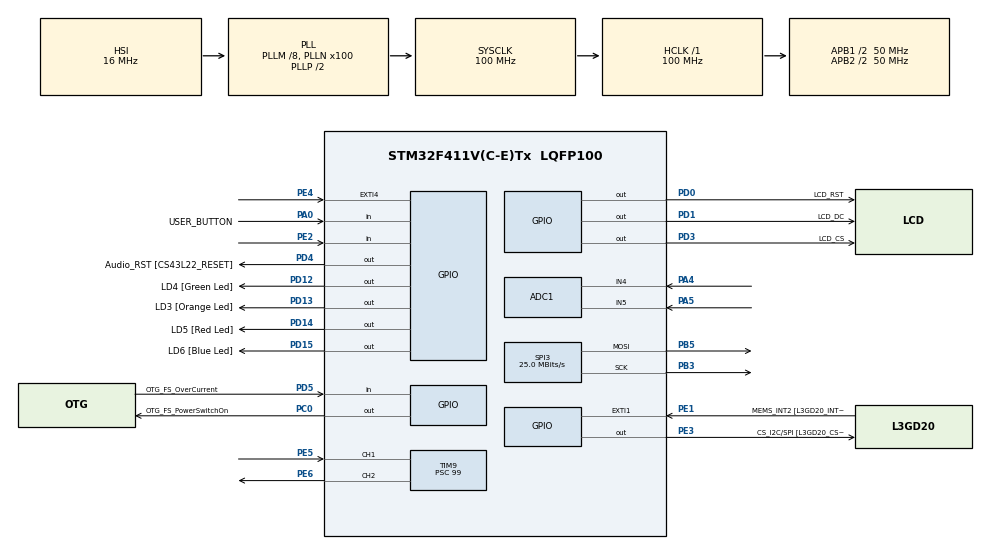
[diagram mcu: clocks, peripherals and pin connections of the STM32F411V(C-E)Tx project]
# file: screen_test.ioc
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ADC1.Channel-0\#ChannelRegularConversion=ADC_CHANNEL_4
ADC1.Channel-1\#ChannelRegularConversion=ADC_CHANNEL_5
ADC1.ClockPrescaler=ADC_CLOCK_SYNC_PCLK_DIV8
ADC1.ContinuousConvMode=ENABLE
ADC1.DMAContinuousRequests=ENABLE
ADC1.NbrOfConversion=2
ADC1.NbrOfConversionFlag=1
ADC1.Rank-0\#ChannelRegularConversion=1
ADC1.Rank-1\#ChannelRegularConversion=2
ADC1.SamplingTime-0\#ChannelRegularConversion=ADC_SAMPLETIME_480CYCLES
ADC1.SamplingTime-1\#ChannelRegularConversion=ADC_SAMPLETIME_480CYCLES
ADC1.ScanConvMode=ENABLE
ADC1.master=1
Dma.ADC1.0.Direction=DMA_PERIPH_TO_MEMORY
Dma.ADC1.0.FIFOMode=DMA_FIFOMODE_DISABLE
Dma.ADC1.0.Instance=DMA2_Stream0
Dma.ADC1.0.MemDataAlignment=DMA_MDATAALIGN_HALFWORD
Dma.ADC1.0.MemInc=DMA_MINC_ENABLE
Dma.ADC1.0.Mode=DMA_CIRCULAR
Dma.ADC1.0.PeriphDataAlignment=DMA_PDATAALIGN_HALFWORD
Dma.ADC1.0.PeriphInc=DMA_PINC_DISABLE
Dma.ADC1.0.Priority=DMA_PRIORITY_LOW
Dma.Request0=ADC1
Mcu.Family=STM32F4
Mcu.Name=STM32F411V(C-E)Tx
Mcu.Package=LQFP100
NVIC.DMA2_Stream0_IRQn=true\:0\:2\:false\:false\:true\:false\:true\:true
NVIC.PriorityGroup=NVIC_PRIORITYGROUP_0
PA0-WKUP.GPIO_Label=USER_BUTTON
PA0-WKUP.Signal=GPIO_Input
PA10.GPIO_Label=OTG_FS_ID
PA10.Signal=USB_OTG_FS_ID
PA11.GPIO_Label=OTG_FS_DM
PA11.Signal=USB_OTG_FS_DM
PA12.GPIO_Label=OTG_FS_DP
PA12.Signal=USB_OTG_FS_DP
PA13.GPIO_Label=SWDIO
PA13.Signal=SYS_JTMS-SWDIO
PA14.GPIO_Label=SWCLK
PA14.Signal=SYS_JTCK-SWCLK
PA4.Signal=ADCx_IN4
PA5.Signal=ADCx_IN5
PA6.GPIO_Label=SPI1_MISO [L3GD20_AS0/SDO]
PA6.Signal=SPI1_MISO
PA7.GPIO_Label=SPI1_MOSI [L3GD20_SDA/SDI/SDO]
PA7.Signal=SPI1_MOSI
PA9.GPIO_Label=VBUS_FS
PA9.Signal=USB_OTG_FS_VBUS
PB10.GPIO_Label=CLK_IN [MP45DT02_CLK]
PB10.Signal=I2S2_CK
PB12.Signal=I2S2_WS
PB3.Mode=TX_Only_Simplex_Unidirect_Master
PB3.Signal=SPI3_SCK
PB5.Mode=TX_Only_Simplex_Unidirect_Master
PB5.Signal=SPI3_MOSI
PB9.Signal=I2C1_SDA
PC0.GPIO_Label=OTG_FS_PowerSwitchOn
PC0.PinState=GPIO_PIN_SET
PC0.Signal=GPIO_Output
PC12.GPIO_Label=I2S3_SD [CS43L22_SDIN]
PC12.GPIO_Mode=GPIO_MODE_AF_PP
PC12.GPIO_PuPd=GPIO_NOPULL
PC12.GPIO_Speed=GPIO_SPEED_FREQ_LOW
PC12.Signal=I2S3_SD
PC14-OSC32_IN.GPIO_Label=PC14-OSC32_IN
PC14-OSC32_IN.Signal=RCC_OSC32_IN
PC15-OSC32_OUT.GPIO_Label=PC15-OSC32_OUT
PC15-OSC32_OUT.Signal=RCC_OSC32_OUT
PC3.GPIO_Label=PDM_OUT [MP45DT02_DOUT]
PC3.Signal=I2S2_SD
PC7.GPIO_Label=I2S3_MCK [CS43L22_MCLK]
PC7.GPIO_Mode=GPIO_MODE_AF_PP
PC7.GPIO_PuPd=GPIO_NOPULL
PC7.GPIO_Speed=GPIO_SPEED_FREQ_LOW
PC7.Signal=I2S3_MCK
PD0.GPIO_Label=LCD_RST
PD0.Signal=GPIO_Output
PD1.GPIO_Label=LCD_DC
PD1.Signal=GPIO_Output
PD12.GPIO_Label=LD4 [Green Led]
PD12.GPIO_PuPd=GPIO_NOPULL
PD12.GPIO_Speed=GPIO_SPEED_FREQ_LOW
PD12.Signal=GPIO_Output
PD13.GPIO_Label=LD3 [Orange Led]
PD13.GPIO_PuPd=GPIO_NOPULL
PD13.GPIO_Speed=GPIO_SPEED_FREQ_LOW
PD13.Signal=GPIO_Output
PD14.GPIO_Label=LD5 [Red Led]
PD14.GPIO_PuPd=GPIO_NOPULL
PD14.GPIO_Speed=GPIO_SPEED_FREQ_LOW
PD14.Signal=GPIO_Output
PD15.GPIO_Label=LD6 [Blue Led]
PD15.GPIO_PuPd=GPIO_NOPULL
PD15.GPIO_Speed=GPIO_SPEED_FREQ_LOW
PD15.Signal=GPIO_Output
PD3.GPIO_Label=LCD_CS
PD3.PinState=GPIO_PIN_SET
PD3.Signal=GPIO_Output
PD4.GPIO_Label=Audio_RST [CS43L22_RESET]
PD4.Signal=GPIO_Output
PD5.GPIO_Label=OTG_FS_OverCurrent
PD5.Signal=GPIO_Input
PE1.GPIO_Label=MEMS_INT2 [L3GD20_INT2]
PE1.GPIO_ModeDefaultEXTI=GPIO_MODE_EVT_RISING
PE1.Signal=GPXTI1
PE2.Signal=GPIO_Input
PE3.GPIO_Label=CS_I2C/SPI [L3GD20_CS_I2C/SPI]
PE3.Signal=GPIO_Output
PE4.GPIO_ModeDefaultEXTI=GPIO_MODE_EVT_RISING
PE4.Signal=GPXTI4
PE5.Signal=S_TIM9_CH1
PE6.Signal=S_TIM9_CH2
PH0\ -\ OSC_IN.GPIO_Label=PH0-OSC_IN
PH0\ -\ OSC_IN.Signal=RCC_OSC_IN
PH1\ -\ OSC_OUT.GPIO_Label=PH1-OSC_OUT
PH1\ -\ OSC_OUT.Signal=RCC_OSC_OUT
ProjectManager.HeapSize=0x200
ProjectManager.StackSize=0x400
ProjectManager.TargetToolchain=STM32CubeIDE
RCC.48MHZClocksFreq_Value=25000000
RCC.AHBFreq_Value=100000000
RCC.APB1CLKDivider=RCC_HCLK_DIV2
RCC.APB1Freq_Value=50000000
RCC.APB1TimFreq_Value=100000000
RCC.APB2CLKDivider=RCC_HCLK_DIV2
RCC.APB2Freq_Value=50000000
RCC.APB2TimFreq_Value=100000000
RCC.CortexFreq_Value=100000000
RCC.HCLKFreq_Value=100000000
RCC.HSE_VALUE=8000000
RCC.HSI_VALUE=16000000
RCC.LSE_VALUE=32768
RCC.PLLI2SM=5
RCC.PLLI2SN=200
RCC.PLLM=8
RCC.PLLN=100
RCC.PLLQ=8
RCC.SYSCLKFreq_VALUE=100000000
RCC.SYSCLKSource=RCC_SYSCLKSOURCE_PLLCLK
RCC.VCOOutputFreq_Value=200000000
SH.ADCx_IN4.0=ADC1_IN4,IN4
SH.ADCx_IN5.0=ADC1_IN5,IN5
SH.S_TIM9_CH1.0=TIM9_CH1,Input_Capture1_from_TI1
SH.S_TIM9_CH2.0=TIM9_CH2,PWM Generation2 CH2
SPI3.CalculateBaudRate=25.0 MBits/s
SPI3.Direction=SPI_DIRECTION_2LINES
SPI3.Mode=SPI_MODE_MASTER
SPI3.VirtualType=VM_MASTER
TIM9.AutoReloadPreload=TIM_AUTORELOAD_PRELOAD_ENABLE
TIM9.Channel-Input_Capture1_from_TI1=TIM_CHANNEL_1
TIM9.Channel-PWM\ Generation2\ CH2=TIM_CHANNEL_2
TIM9.Period=15999
TIM9.Prescaler=99
TIM9.Pulse-PWM\ Generation2\ CH2=10
VP_TIM9_VS_ClockSourceINT.Mode=Internal
board=STM32F411E-DISCO

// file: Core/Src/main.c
/* USER CODE BEGIN Header */
/**
  ******************************************************************************
  * @file           : main.c
  * @brief          : Main program body
  ******************************************************************************
  * @attention
  *
  * Copyright (c) 2023 STMicroelectronics.
  * All rights reserved.
  *
  * This software is licensed under terms that can be found in the LICENSE file
  * in the root directory of this software component.
  * If no LICENSE file comes with this software, it is provided AS-IS.
  *
  ******************************************************************************
  */
/* USER CODE END Header */
#include "main.h"
#include "adc.h"
#include "dma.h"
#include "spi.h"
#include "tim.h"
#include "gpio.h"

/* USER CODE BEGIN Includes */
#include "lcd.h"
#include "stdbool.h"
#include <stdio.h>
#include <limits.h>
#include <math.h>
/* USER CODE END Includes */

/* USER CODE BEGIN PD */
//Rejestry
#define LSM303_ACC_ADDRESS (0x19 << 1) // adres akcelerometru: 0011 001x
#define LSM303_ACC_CTRL_REG1_A 0x20 // rejestr ustawien 1
#define LSM303_ACC_CTRL_REG3_A 0x22 // rejestr ustawien 3
#define LSM303_ACC_Z_H_A 0x2D // wyzszy bajt danych osi Z
#define LSM303_ACC_Z_L_A 0x2C // nizszy bajt danych osi Z
#define LSM303_ACC_X_L_A 0x28 // nizszy bajt danych osi X

// mlodszy bajt danych osi Z z najstarszym bitem ustawionym na 1 w celu
// wymuszenia autoinkrementacji adresow rejestru w urzadzeniu docelowym
// (zeby moc odczytac wiecej danych na raz)
#define LSM303_ACC_Z_L_A_MULTI_READ (LSM303_ACC_Z_L_A | 0x80)

// mlodszy bajt danych osi X z najstarszym bitem ustawionym na 1 w celu
// wymuszenia autoinkrementacji adresow rejestru w urzadzeniu docelowym
// (zeby moc odczytac wiecej danych na raz)
#define LSM303_ACC_X_L_A_MULTI_READ (LSM303_ACC_X_L_A | 0x80)

// Maski bitowe
// CTRL_REG1_A = [ODR3][ODR2][ODR1][ODR0][LPEN][ZEN][YEN][XEN]
#define LSM303_ACC_Z_ENABLE 0x04 // 0000 0100
#define LSM303_ACC_XYZ_ENABLE 0x07 // 0000 0111
#define LSM303_ACC_100HZ 0x50 //0101 0000
#define LSM303_ACC_1HZ 0x10 //0001 0000

// CTRL_REG3_A = [CLICK][AOI1][AOI2][DRDY_1][DRDY_2][WTM][OVERRUN][---]
#define LSM303_ACC_I1_DRDY1 0x10 //0001 0000
#define LSM303_ACC_I1_DRDY2 0x08 //0000 1000

#define LSM303_ACC_RESOLUTION 2.0 // Maksymalna wartosc mierzalnego przyspieszenia [g]

// Zmienne
uint8_t Data[6]; // Zmienna do bezposredniego odczytu danych z akcelerometru
int16_t Xaxis = 0; // Zawiera przeksztalcona forme odczytanych danych z osi X
int16_t Yaxis = 0; // Zawiera przeksztalcona forme odczytanych danych z osi Y
int16_t Zaxis = 0; // Zawiera przeksztalcona forme odczytanych danych z osi Z

int16_t ax = 0;
int16_t ay = 0;
int16_t az = 0;

uint8_t cubeX = 0, cubeY = 0;
uint8_t cubeSiz = 25;
uint8_t cubeJmp = 10;

uint32_t value = 0;

volatile static uint16_t joystick[2];
int16_t pl1_ay = 0, pl2_ay = 0;

/* USER CODE END PD */

void SystemClock_Config(void);

/* USER CODE BEGIN 0 */

bool isUserButtonPressed(void){
	return (HAL_GPIO_ReadPin(USER_BUTTON_GPIO_Port, USER_BUTTON_Pin) != GPIO_PIN_RESET) ? true : false;
}

/* USER CODE END 0 */

int main(void)
{

  /* MCU Configuration--------------------------------------------------------*/

  /* Reset of all peripherals, Initializes the Flash interface and the Systick. */
  HAL_Init();

  /* Configure the system clock */
  SystemClock_Config();

  /* Initialize all configured peripherals */
  MX_GPIO_Init();
  MX_DMA_Init();
  MX_SPI3_Init();
  MX_TIM9_Init();
  MX_ADC1_Init();
  /* USER CODE BEGIN 2 */
  // wypelnieine zmiennej konfiguracyjnej odpowiednimi opcjami
    //uint8_t Settings = LSM303_ACC_XYZ_ENABLE | LSM303_ACC_100HZ;

  	// Wpisanie konfiguracji do rejestru akcelerometru
    //HAL_I2C_Mem_Write(&hi2c1, LSM303_ACC_ADDRESS, LSM303_ACC_CTRL_REG1_A, 1, &Settings, 1, 100);

  	//Settings = LSM303_ACC_I1_DRDY2;
  	//HAL_I2C_Mem_Write(&hi2c1, LSM303_ACC_ADDRESS, LSM303_ACC_CTRL_REG3_A, 1, &Settings, 1, 100);

  	//HAL_TIM_IC_Start(&htim9, TIM_CHANNEL_1);
  	//HAL_TIM_PWM_Start(&htim9, TIM_CHANNEL_2);

  	//HAL_Delay(1000);
  /* USER CODE END 2 */

  /* Infinite loop */
  /* USER CODE BEGIN WHILE */
  lcd_init();

  //int rotationThresholdBinaryShift = 10;
  //int zThresholdBinaryShift = 10;

   uint8_t playerScreenMargin = 5;
   uint8_t screenXMargin = 10;
   uint8_t playerSpeed = 1;
   uint8_t player_xsize = 4;
   uint8_t player_ysize = 20;
   int32_t pl1_x = screenXMargin + playerScreenMargin;
   int32_t pl2_x = LCD_WIDTH - (screenXMargin + playerScreenMargin + player_xsize);
   int32_t pl1_y = (LCD_HEIGHT / 2) - (player_ysize / 2);
   int32_t pl2_y = (LCD_HEIGHT / 2) - (player_ysize / 2);

   int8_t ballXSpeed = 3;
   int8_t ballYSpeed = 2;
   int32_t ballx = LCD_WIDTH / 2;
   int32_t bally = LCD_HEIGHT / 2;
   uint8_t ballsize = 4;

   HAL_ADC_Start_DMA(&hadc1, (uint32_t*)joystick, 2);

  while (1)
  {

	  /*
	  	  HAL_I2C_Mem_Read(&hi2c1, LSM303_ACC_ADDRESS, LSM303_ACC_X_L_A_MULTI_READ, 1, Data, 6, 100);

	  		// Konwersja odebranych bajtow danych na typ int16_t
	  		Xaxis = ((Data[1] << 8) | Data[0]);
	  		Yaxis = ((Data[3] << 8) | Data[2]);
	  		//Zaxis = ((Data[5] << 8) | Data[4]);

	  		ax = Xaxis >> rotationThresholdBinaryShift;
	  		ay = Yaxis >> rotationThresholdBinaryShift;
	  		//az = Zaxis >> zThresholdBinaryShift;
	  		 */

	  //lcd_fillBox(0,0, LCD_WIDTH, LCD_HEIGHT, BLUE);
	  //boxController(&cubeX, &cubeY, cubeSiz, ax, ay, 1);

	  //value = HAL_TIM_ReadCapturedValue(&htim9, TIM_CHANNEL_1);
	  //HAL_Delay(1000);

	  //PLAYER ACCELERATION

	  pl1_y += ((joystick[1] - 2048) / 200) * playerSpeed;
	  pl2_y += ((joystick[0] - 2048) / 200) * playerSpeed;

	  //PLAYER COLLISSION SCRIPT

	  int maxAllowedY = LCD_HEIGHT - playerScreenMargin;
	  int minAllowedY = playerScreenMargin;

	  if(pl1_y > maxAllowedY){
		  pl1_y = maxAllowedY;
	  }
	  if (pl1_y < minAllowedY) {
	      pl1_y = minAllowedY;
	   }

	  if(pl2_y > maxAllowedY){
	  	pl2_y = maxAllowedY;
	  }
	  if (pl2_y < minAllowedY) {
	  	pl2_y = minAllowedY;
	  }

	  //BALL ACCELERATION

	  ballx += ballXSpeed;
	  bally += ballYSpeed;

	  //BALL COLLISSION

	  if(bally < playerScreenMargin){
		  bally = playerScreenMargin;
		  ballYSpeed = -ballYSpeed;
	  }else if(bally > LCD_HEIGHT - ballsize) {
		  bally = LCD_HEIGHT - ballsize;
		  ballYSpeed = -ballYSpeed;
	  }

	  //PLAYER BALL COLLISSION
/*
	  if(bally + ballsize >= pl1_y && bally <= pl1_y + player_ysize && ballx <= pl1_x + player_xsize && ballx + ballsize >= pl1_x){
	  		  ballXSpeed = -ballXSpeed;
	  	  }

	  if(bally + ballsize >= pl2_y && bally <= pl2_y + player_ysize && ballx >= pl2_x + player_xsize && ballx + ballsize <= pl2_x){
	  	  		  ballXSpeed = -ballXSpeed;
	  	  }
	  	  */
	  if(bally + ballsize >= pl1_y && bally <= pl1_y + player_ysize && ballx <= pl1_x + player_xsize && ballx + ballsize >= pl1_x){
	  	  		  ballXSpeed = -ballXSpeed;
	  	  	  }

	  	  if(bally + ballsize >= pl2_y && bally <= pl2_y + player_ysize && ballx + ballsize >= pl2_x){
	  	  	  		  ballXSpeed = -ballXSpeed;
	  	  	  }

	  //RESET SCRIPT

	  if(ballx < playerScreenMargin){
		  NVIC_SystemReset();
	  }else if(ballx > LCD_WIDTH - ballsize) {
	  	  NVIC_SystemReset();
	  }

	  lcd_fillBox(0,0, LCD_WIDTH, LCD_HEIGHT, BLACK);

	  lcd_fillBox(pl1_x, pl1_y, player_xsize, player_ysize, WHITE);

	  lcd_fillBox(pl2_x, pl2_y, player_xsize, player_ysize, WHITE);

	  lcd_fillBox(ballx, bally, ballsize, ballsize, WHITE);

	    lcd_copy();

	  HAL_Delay(50);

    /* USER CODE END WHILE */

  }
}

void SystemClock_Config(void)
{
  RCC_OscInitTypeDef RCC_OscInitStruct = {0};
  RCC_ClkInitTypeDef RCC_ClkInitStruct = {0};

  /** Configure the main internal regulator output voltage
  */
  __HAL_RCC_PWR_CLK_ENABLE();
  __HAL_PWR_VOLTAGESCALING_CONFIG(PWR_REGULATOR_VOLTAGE_SCALE1);

  /** Initializes the RCC Oscillators according to the specified parameters
  * in the RCC_OscInitTypeDef structure.
  */
  RCC_OscInitStruct.OscillatorType = RCC_OSCILLATORTYPE_HSI;
  RCC_OscInitStruct.HSIState = RCC_HSI_ON;
  RCC_OscInitStruct.HSICalibrationValue = RCC_HSICALIBRATION_DEFAULT;
  RCC_OscInitStruct.PLL.PLLState = RCC_PLL_ON;
  RCC_OscInitStruct.PLL.PLLSource = RCC_PLLSOURCE_HSI;
  RCC_OscInitStruct.PLL.PLLM = 8;
  RCC_OscInitStruct.PLL.PLLN = 100;
  RCC_OscInitStruct.PLL.PLLP = RCC_PLLP_DIV2;
  RCC_OscInitStruct.PLL.PLLQ = 8;
  if (HAL_RCC_OscConfig(&RCC_OscInitStruct) != HAL_OK)
  {
    Error_Handler();
  }

  /** Initializes the CPU, AHB and APB buses clocks
  */
  RCC_ClkInitStruct.ClockType = RCC_CLOCKTYPE_HCLK|RCC_CLOCKTYPE_SYSCLK
                              |RCC_CLOCKTYPE_PCLK1|RCC_CLOCKTYPE_PCLK2;
  RCC_ClkInitStruct.SYSCLKSource = RCC_SYSCLKSOURCE_PLLCLK;
  RCC_ClkInitStruct.AHBCLKDivider = RCC_SYSCLK_DIV1;
  RCC_ClkInitStruct.APB1CLKDivider = RCC_HCLK_DIV2;
  RCC_ClkInitStruct.APB2CLKDivider = RCC_HCLK_DIV2;

  if (HAL_RCC_ClockConfig(&RCC_ClkInitStruct, FLASH_LATENCY_3) != HAL_OK)
  {
    Error_Handler();
  }
}

void Error_Handler(void)
{
  __disable_irq();
  while (1)
  {
  }
}
